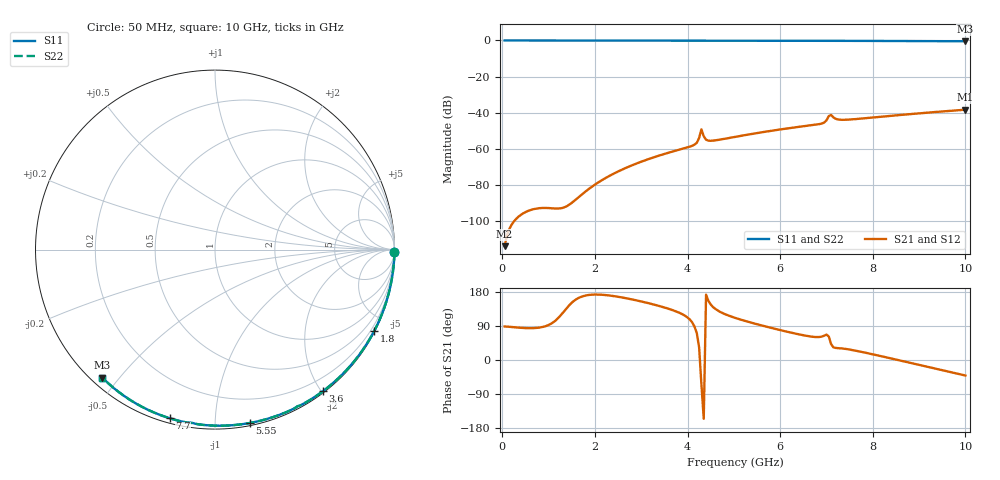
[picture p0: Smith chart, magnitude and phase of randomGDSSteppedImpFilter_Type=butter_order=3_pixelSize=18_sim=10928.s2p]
! freq	dB(S11)	phase(S11)	dB(S12)	phase(S12)
!  dB(S21)	phase(S21)	dB(S22)	phase(S22)
!S-par simulation data
#  GHz  S  DB  R 50
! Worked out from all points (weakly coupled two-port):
!   200 points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, 50 MHz to 10 GHz, reference 50 ohm
!   highest |S21| = -38.30 dB at 10 GHz (marker M1); lowest = -113.8 dB at 50 MHz (marker M2)
!   lowest |S11| = -0.4 dB at 10 GHz (marker M3), VSWR 39.19, Z = 1.54 - j22.6 ohm
!   |S11| at or under -10 dB: nowhere
!   |S22| runs from -0.4 to 0.0 dB; largest |S21 - S12| = 0
!   S11 on the Smith chart (normalised r, x): 50 MHz: open; 1.8 GHz: 0.04, -4.18; 3.6 GHz: 0.02, -2.02; 5.55 GHz: 0.02, -1.22; 7.7 GHz: 0.02, -0.77; 10 GHz: 0.03, -0.45
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0.05  -0.00 -0.8  -113.79 88.5  -113.79 88.5  -0.00 -0.8
1.75  -0.03 -26.2  -84.51 168.6  -84.51 168.6  -0.03 -26.2
1.8  -0.03 -26.9  -83.48 170.2  -83.48 170.2  -0.03 -26.9
2  -0.04 -29.9  -79.76 172.7  -79.76 172.7  -0.04 -29.9
2.65  -0.05 -39.3  -70.70 163.6  -70.70 163.6  -0.05 -39.3
3.4  -0.07 -49.9  -63.57 142.1  -63.57 142.1  -0.07 -49.9
3.6  -0.07 -52.7  -62.02 134.8  -62.02 134.8  -0.07 -52.7
4.15  -0.09 -60.3  -57.63 88.3  -57.63 88.3  -0.09 -60.3
4.2  -0.09 -61.0  -56.60 70.8  -56.60 70.8  -0.09 -61.0
4.25  -0.10 -61.7  -53.94 33.6  -53.94 33.6  -0.10 -61.7
4.3  -0.12 -62.3  -49.16 -64.6  -49.16 -64.6  -0.12 -62.3
4.35  -0.10 -62.8  -53.01 -155.0  -53.01 -155.0  -0.10 -62.8
4.45  -0.10 -64.2  -55.42 156.2  -55.42 156.2  -0.10 -64.2
5.05  -0.11 -72.2  -53.23 110.3  -53.23 110.3  -0.11 -72.2
5.55  -0.13 -78.6  -51.02 92.8  -51.02 92.8  -0.13 -78.7
6.7  -0.18 -93.0  -46.82 61.3  -46.82 61.3  -0.18 -93.1
6.95  -0.20 -96.1  -45.42 64.0  -45.42 64.0  -0.20 -96.1
7.1  -0.22 -97.7  -41.22 42.0  -41.22 42.0  -0.22 -97.7
7.25  -0.21 -99.6  -43.72 31.4  -43.72 31.4  -0.21 -99.6
7.7  -0.24 -105.0  -43.34 22.9  -43.34 22.9  -0.24 -105.0
8.35  -0.29 -112.6  -41.79 5.4  -41.79 5.4  -0.29 -112.6
10  -0.44 -131.4  -38.30 -41.0  -38.30 -41.0  -0.44 -131.4
